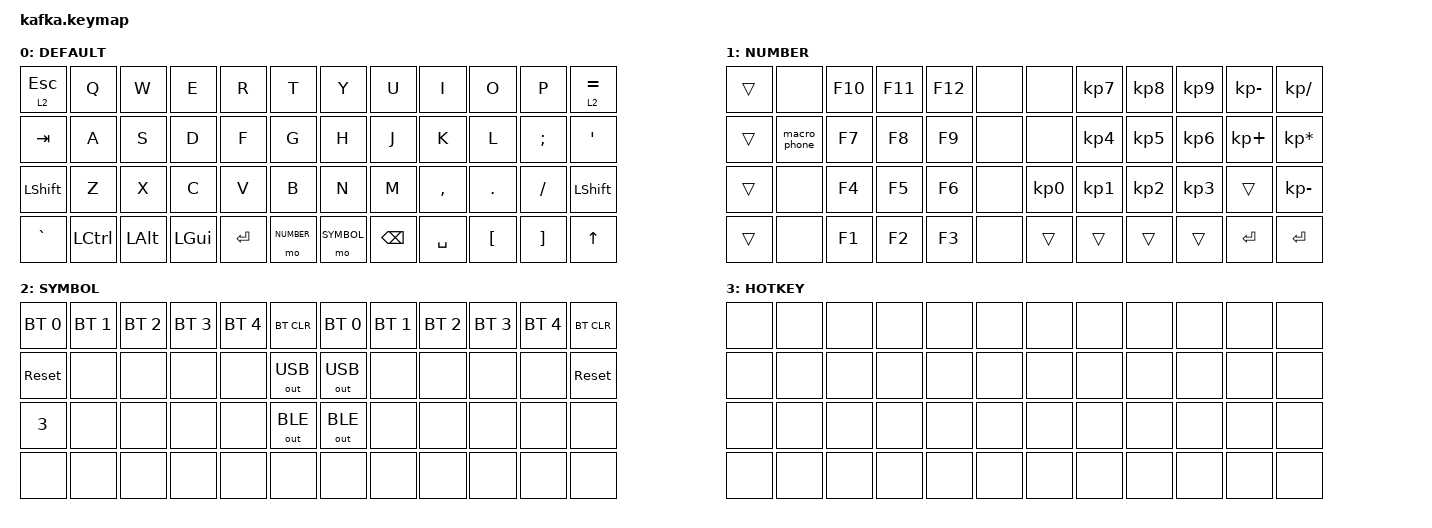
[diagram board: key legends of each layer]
#include <behaviors.dtsi>
#include <dt-bindings/zmk/bt.h>
#include <dt-bindings/zmk/keys.h>
#include <dt-bindings/zmk/outputs.h>

#define DEFAULT 0
#define NUMBER  1
#define SYMBOL  2
#define HOTKEY  3

#define AS(keycode) &as LS(keycode) keycode

/ {
    behaviors {
        td0: tap_dance_0 {
            compatible = "zmk,behavior-tap-dance";
            label = "TAP_DANCE_0";
            #binding-cells = <0>;
            tapping-term-ms = <200>;
            bindings =
                <&kp ESC>,
                <&kp TAB>;
        };
    };

    behaviors {
        as: auto_shift {
            compatible = "zmk,behavior-hold-tap";
            label = "AUTO_SHIFT";
            #binding-cells = <2>;
            tapping-term-ms = <200>;
            quick-tap-ms = <0>;
            flavor = "tap-preferred";
            bindings =
                <&kp>,
                <&kp>;
        };
        modcp: mod_copy {
            compatible = "zmk,behavior-mod-morph";
            label = "MOD_COPY";
            #binding-cells = <0>;
            bindings =
                <&as LS(C) C>,
                <&kp C>;

            mods = <(LGUI | RGUI)>;
        };
    };

    macros {
        macro_phone: macro_phone {

            label = "MACRO_PHONE";
            compatible = "zmk,behavior-macro";
            #binding-cells = <0>;
            bindings = <&kp N1 &kp N3 &kp N5 &kp N1>;
        };
        macro_email_q: macro_email_q {

            label = "MACRO_EMAIL_QQ";
            compatible = "zmk,behavior-macro";
            #binding-cells = <0>;
            bindings = <&kp N2 &kp N8 &kp N9 &kp N4 &kp N5 &kp N1 &kp N2 &kp N4 &kp N4 &kp N0 &kp AT &kp Q &kp Q &kp DOT &kp C &kp O &kp M>;
        };
        macro_email_g: macro_email_g {
            // 135115

            compatible = "zmk,behavior-macro";
            label = "MACRO_EMAIL_GMAIL";
            #binding-cells = <0>;
            bindings = <&kp N1 &kp N3 &kp N5 &kp N1 &kp N1 &kp N5>;
        };
    };

    combos {
        compatible = "zmk,combos";

        combo_LSHFT {
            timeout-ms = <50>;
            key-positions = <14 15>;
            bindings = <&kp  LSHFT>;
        };
    };

    keymap {
        compatible = "zmk,keymap";

        default_layer {
            label = "DEFAULT";
            bindings = <
                        &lt 2 ESC       &kp Q   &kp W         &kp E         &kp R      &kp T            &kp Y          &kp U          &kp I      &kp O      &kp P     &lt 2 EQUAL
                        &kp TAB         &kp A   &kp S         &kp D         &kp F      &kp G            &kp H          &kp J          &kp K      &kp L      &kp SEMI  &kp SQT
                        &kp LEFT_SHIFT  &kp Z   &kp X         &kp C         &kp V      &kp B            &kp N          &kp M          &kp COMMA  &kp DOT    &kp FSLH  &kp LSHFT
                        &kp GRAVE     &kp LCTRL &kp LEFT_ALT  &kp LGUI      &kp RETURN &mo NUMBER       &mo SYMBOL     &kp BACKSPACE  &kp SPACE  &kp LBKT   &kp RBKT  &kp UP
            >;
        };

        number_layer {
            label = "NUMBER";
            bindings = <
                        &trans  &none         &kp F10  &kp F11  &kp F12  &none          &none       &kp KP_N7  &kp KP_N8     &kp KP_N9    &kp KP_MINUS  &kp KP_SLASH
                        &trans  &macro_phone  &kp F7   &kp F8   &kp F9   &none          &none       &kp KP_N4  &kp KP_N5     &kp KP_N6    &kp KP_PLUS   &kp KP_MULTIPLY
                        &trans  &none         &kp F4   &kp F5   &kp F6   &none          &kp KP_N0   &kp KP_N1  &kp KP_N2     &kp KP_N3    &trans        &kp KP_MINUS
                        &trans  &none         &kp F1   &kp F2   &kp F3   &none          &trans      &trans     &trans        &trans       &kp ENTER     &kp ENTER
            >;
        };

        symbol_layer {
            label = "SYMBOL";
            bindings = <
                        &bt BT_SEL 0  &bt BT_SEL 1  &bt BT_SEL 2  &bt BT_SEL 3  &bt BT_SEL 4  &bt BT_CLR               &bt BT_SEL 0  &bt BT_SEL 1  &bt BT_SEL 2  &bt BT_SEL 3  &bt BT_SEL 4  &bt BT_CLR
                        &sys_reset    &none         &none         &none         &none         &out OUT_USB             &out OUT_USB  &none         &none         &none         &none         &sys_reset
                        &kp N3        &none         &none         &none         &none         &out OUT_BLE             &out OUT_BLE  &none         &none         &none         &none         &none
                        &none         &none         &none         &none         &none         &none                    &none         &none         &none         &none         &none         &none
            >;
        };

        hotkey_layer {
            label = "HOTKEY";
            bindings = <
                        &none  &none  &none  &none  &none  &none         &none  &none  &none  &none  &none  &none
                        &none  &none  &none  &none  &none  &none         &none  &none  &none  &none  &none  &none
                        &none  &none  &none  &none  &none  &none         &none  &none  &none  &none  &none  &none
                        &none  &none  &none  &none  &none  &none         &none  &none  &none  &none  &none  &none
            >;
        };
    };
};
